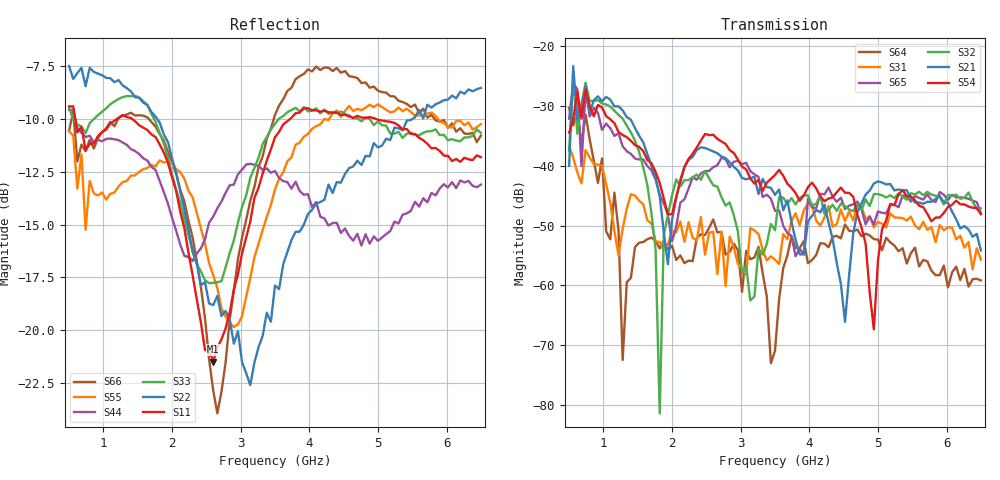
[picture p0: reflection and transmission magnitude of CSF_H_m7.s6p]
!Keysight Technologies,M9804A,MY58100912,A.14.10.03
!Date: Thursday, April 27, 2023 10:28:33
!Correction: S11(C  6-Port  )
!S12(C  6-Port  )
!S13(C  6-Port  )
!S14(C  6-Port  )
!S15(C  6-Port  )
!S16(C  6-Port  )
!S21(C  6-Port  )
!S22(C  6-Port  )
!S23(C  6-Port  )
!S24(C  6-Port  )
!S25(C  6-Port  )
!S26(C  6-Port  )
!S31(C  6-Port  )
!S32(C  6-Port  )
!S33(C  6-Port  )
!S34(C  6-Port  )
!S35(C  6-Port  )
!S36(C  6-Port  )
!S41(C  6-Port  )
!S42(C  6-Port  )
!S43(C  6-Port  )
!S44(C  6-Port  )
!S45(C  6-Port  )
!S46(C  6-Port  )
!S51(C  6-Port  )
!S52(C  6-Port  )
!S53(C  6-Port  )
!S54(C  6-Port  )
!S55(C  6-Port  )
!S56(C  6-Port  )
!S61(C  6-Port  )
!S62(C  6-Port  )
!S63(C  6-Port  )
!S64(C  6-Port  )
!S65(C  6-Port  )
!S66(C  6-Port  )
!S6P File: Measurement: :
# Hz S  RI  R 50
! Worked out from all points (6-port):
!   101 points, 500 MHz to 6.5 GHz, reference 50 ohm
!   strongest paths, dB at 500 MHz, 2 GHz, 3.5 GHz, 5 GHz, 6.5 GHz:
!     S54: -34.4, -48.1, -41.5, -55.9, -48.1
!     S21: -40.0, -49.0, -44.8, -42.6, -54.1
!     S32: -37.4, -44.9, -50.8, -44.7, -47.1
!     S65: -32.1, -52.6, -47.5, -47.6, -47.9
!     S31: -36.7, -50.8, -55.7, -49.4, -55.7
!     S64: -30.3, -53.4, -70.9, -52.3, -59.2
!   lowest |S11| = -21.5 dB at 2.6 GHz (marker M1), VSWR 1.18, Z = 42.5 + j2.2 ohm
!   |S11| at or under -10 dB: 589.7 MHz to 1.191 GHz (601.8 MHz wide, 67.6 % of centre); 1.422 GHz to 3.716 GHz (2.294 GHz wide, 89.3 % of centre); 4.98 GHz to end of sweep
